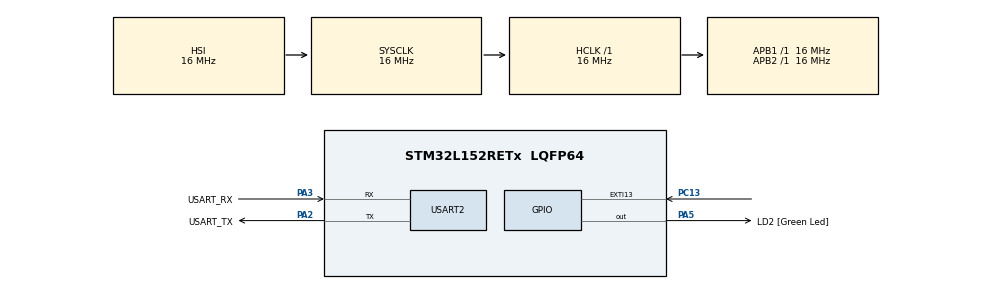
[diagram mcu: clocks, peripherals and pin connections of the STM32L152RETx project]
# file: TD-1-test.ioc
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Mcu.Family=STM32L1
Mcu.Name=STM32L152RETx
Mcu.Package=LQFP64
NVIC.EXTI15_10_IRQn=true\:0\:0\:false\:false\:true\:true\:true\:true
NVIC.PriorityGroup=NVIC_PRIORITYGROUP_0
NVIC.TIM6_IRQn=true\:0\:0\:false\:false\:true\:true\:true\:true
PA13.GPIO_Label=TMS
PA13.Mode=Serial_Wire
PA13.Signal=SYS_JTMS-SWDIO
PA14.GPIO_Label=TCK
PA14.Mode=Serial_Wire
PA14.Signal=SYS_JTCK-SWCLK
PA2.GPIO_Label=USART_TX
PA2.Mode=Asynchronous
PA2.Signal=USART2_TX
PA3.GPIO_Label=USART_RX
PA3.Mode=Asynchronous
PA3.Signal=USART2_RX
PA5.GPIO_Label=LD2 [Green Led]
PA5.Signal=GPIO_Output
PB3.GPIO_Label=SWO
PB3.Signal=SYS_JTDO-TRACESWO
PC13-WKUP2.GPIO_ModeDefaultEXTI=GPIO_MODE_IT_FALLING
PC13-WKUP2.Signal=GPXTI13
PC14-OSC32_IN.Mode=LSE-External-Oscillator
PC14-OSC32_IN.Signal=RCC_OSC32_IN
PC15-OSC32_OUT.Mode=LSE-External-Oscillator
PC15-OSC32_OUT.Signal=RCC_OSC32_OUT
PH0-OSC_IN.Mode=HSE-External-Clock-Source
PH0-OSC_IN.Signal=RCC_OSC_IN
PH1-OSC_OUT.Signal=RCC_OSC_OUT
ProjectManager.HeapSize=0x200
ProjectManager.StackSize=0x400
ProjectManager.TargetToolchain=STM32CubeIDE
RCC.48MHZClocksFreq_Value=48000000
RCC.AHBFreq_Value=16000000
RCC.APB1Freq_Value=16000000
RCC.APB1TimFreq_Value=16000000
RCC.APB2Freq_Value=16000000
RCC.APB2TimFreq_Value=16000000
RCC.HCLKFreq_Value=16000000
RCC.HSE_VALUE=8000000
RCC.HSI_VALUE=16000000
RCC.MSI_VALUE=2097000
RCC.PLLDIV=RCC_PLL_DIV3
RCC.PLLMUL=RCC_PLL_MUL6
RCC.RTCClockSelectionVirtual=RCC_RTCCLKSOURCE_LSE
RCC.SYSCLKFreq_VALUE=16000000
RCC.SYSCLKSource=RCC_SYSCLKSOURCE_HSI
RCC.USBOutput=48000000
RCC.VCOOutputFreq_Value=96000000
TIM6.Period=1000-1
TIM6.Prescaler=16000-1
USART2.VirtualMode=VM_ASYNC
VP_TIM6_VS_ClockSourceINT.Mode=Enable_Timer
board=NUCLEO-L152RE

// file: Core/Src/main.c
/* USER CODE BEGIN Header */
/**
  ******************************************************************************
  * @file           : main.c
  * @brief          : Main program body
  ******************************************************************************
  * @attention
  *
  * Copyright (c) 2025 STMicroelectronics.
  * All rights reserved.
  *
  * This software is licensed under terms that can be found in the LICENSE file
  * in the root directory of this software component.
  * If no LICENSE file comes with this software, it is provided AS-IS.
  *
  ******************************************************************************
  */
/* USER CODE END Header */
#include "main.h"

/* USER CODE BEGIN PD */

//#define POLLING

/* USER CODE END PD */

TIM_HandleTypeDef htim6;

UART_HandleTypeDef huart2;

void SystemClock_Config(void);
static void MX_GPIO_Init(void);
static void MX_USART2_UART_Init(void);
static void MX_TIM6_Init(void);

int main(void)
{

  /* MCU Configuration--------------------------------------------------------*/

  /* Reset of all peripherals, Initializes the Flash interface and the Systick. */
  HAL_Init();

  /* Configure the system clock */
  SystemClock_Config();

  /* Initialize all configured peripherals */
  MX_GPIO_Init();
  MX_USART2_UART_Init();
  MX_TIM6_Init();
  /* USER CODE BEGIN 2 */

  // Allume la led V1
  //*((uint32_t *)0x40020014) |= (1 << 5);

  uint32_t bouton_bleu = 0;
  uint32_t led = 0;
  uint8_t v = 0;
  /* USER CODE END 2 */

  /* Infinite loop */
  /* USER CODE BEGIN WHILE */

  //status_bouton = *((uint32_t*)0x40020810);
  TIM6->DIER |= 1<<0;
  TIM6->CR1 |= 1<<0;
  while (1)
  {
    /* USER CODE END WHILE */

    /* USER CODE BEGIN 3 */
	  // Code V1 clignotte version pas propre
	  /*
	  *((uint32_t *)0x40020014) |= (1 << 5);
	  HAL_Delay(1000);
	  *((uint32_t *)0x40020014) &= ~(1 << 5);
	  HAL_Delay(1000);
	  */

	  // Code V2 clignotte avec XOR
	  /*
	  *((uint32_t *)0x40020014) ^= (1 << 5);
	  HAL_Delay(1000);
	  */
#ifdef POLLING
	  // Version variable
	  bouton_bleu = *(volatile uint32_t *)0x40020810;
	  led = *(volatile uint32_t *)0x40020014;
	  v = (bouton_bleu & (1 << 13)) >> 13;
	  if(v == 0) {
		  led ^= (1 << 5);
		  *(volatile uint32_t *)0x40020014 = led;
		  HAL_Delay(500);
	  }
#endif

	  // Version registre
	  /*
	  v = (GPIOC->IDR&(1 << 13)) >> 13;
	  if(v == 0) {
		  GPIOA->ODR ^= (1 << 5);
		  HAL_Delay(500);
	  }
	  */
  }
  /* USER CODE END 3 */
}

void SystemClock_Config(void)
{
  RCC_OscInitTypeDef RCC_OscInitStruct = {0};
  RCC_ClkInitTypeDef RCC_ClkInitStruct = {0};

  /** Configure the main internal regulator output voltage
  */
  __HAL_PWR_VOLTAGESCALING_CONFIG(PWR_REGULATOR_VOLTAGE_SCALE1);

  /** Initializes the RCC Oscillators according to the specified parameters
  * in the RCC_OscInitTypeDef structure.
  */
  RCC_OscInitStruct.OscillatorType = RCC_OSCILLATORTYPE_HSI;
  RCC_OscInitStruct.HSIState = RCC_HSI_ON;
  RCC_OscInitStruct.HSICalibrationValue = RCC_HSICALIBRATION_DEFAULT;
  RCC_OscInitStruct.PLL.PLLState = RCC_PLL_NONE;
  if (HAL_RCC_OscConfig(&RCC_OscInitStruct) != HAL_OK)
  {
    Error_Handler();
  }

  /** Initializes the CPU, AHB and APB buses clocks
  */
  RCC_ClkInitStruct.ClockType = RCC_CLOCKTYPE_HCLK|RCC_CLOCKTYPE_SYSCLK
                              |RCC_CLOCKTYPE_PCLK1|RCC_CLOCKTYPE_PCLK2;
  RCC_ClkInitStruct.SYSCLKSource = RCC_SYSCLKSOURCE_HSI;
  RCC_ClkInitStruct.AHBCLKDivider = RCC_SYSCLK_DIV1;
  RCC_ClkInitStruct.APB1CLKDivider = RCC_HCLK_DIV1;
  RCC_ClkInitStruct.APB2CLKDivider = RCC_HCLK_DIV1;

  if (HAL_RCC_ClockConfig(&RCC_ClkInitStruct, FLASH_LATENCY_0) != HAL_OK)
  {
    Error_Handler();
  }
}

static void MX_TIM6_Init(void)
{

  TIM_MasterConfigTypeDef sMasterConfig = {0};

  htim6.Instance = TIM6;
  htim6.Init.Prescaler = 16000-1;
  htim6.Init.CounterMode = TIM_COUNTERMODE_UP;
  htim6.Init.Period = 1000-1;
  htim6.Init.AutoReloadPreload = TIM_AUTORELOAD_PRELOAD_DISABLE;
  if (HAL_TIM_Base_Init(&htim6) != HAL_OK)
  {
    Error_Handler();
  }
  sMasterConfig.MasterOutputTrigger = TIM_TRGO_RESET;
  sMasterConfig.MasterSlaveMode = TIM_MASTERSLAVEMODE_DISABLE;
  if (HAL_TIMEx_MasterConfigSynchronization(&htim6, &sMasterConfig) != HAL_OK)
  {
    Error_Handler();
  }

}

static void MX_USART2_UART_Init(void)
{

  huart2.Instance = USART2;
  huart2.Init.BaudRate = 115200;
  huart2.Init.WordLength = UART_WORDLENGTH_8B;
  huart2.Init.StopBits = UART_STOPBITS_1;
  huart2.Init.Parity = UART_PARITY_NONE;
  huart2.Init.Mode = UART_MODE_TX_RX;
  huart2.Init.HwFlowCtl = UART_HWCONTROL_NONE;
  huart2.Init.OverSampling = UART_OVERSAMPLING_16;
  if (HAL_UART_Init(&huart2) != HAL_OK)
  {
    Error_Handler();
  }

}

static void MX_GPIO_Init(void)
{
  GPIO_InitTypeDef GPIO_InitStruct = {0};

  /* GPIO Ports Clock Enable */
  __HAL_RCC_GPIOC_CLK_ENABLE();
  __HAL_RCC_GPIOH_CLK_ENABLE();
  __HAL_RCC_GPIOA_CLK_ENABLE();
  __HAL_RCC_GPIOB_CLK_ENABLE();

  /*Configure GPIO pin Output Level */
  HAL_GPIO_WritePin(LD2_GPIO_Port, LD2_Pin, GPIO_PIN_RESET);

  /*Configure GPIO pin : PC13 */
  GPIO_InitStruct.Pin = GPIO_PIN_13;
  GPIO_InitStruct.Mode = GPIO_MODE_IT_FALLING;
  GPIO_InitStruct.Pull = GPIO_NOPULL;
  HAL_GPIO_Init(GPIOC, &GPIO_InitStruct);

  /*Configure GPIO pin : LD2_Pin */
  GPIO_InitStruct.Pin = LD2_Pin;
  GPIO_InitStruct.Mode = GPIO_MODE_OUTPUT_PP;
  GPIO_InitStruct.Pull = GPIO_NOPULL;
  GPIO_InitStruct.Speed = GPIO_SPEED_FREQ_LOW;
  HAL_GPIO_Init(LD2_GPIO_Port, &GPIO_InitStruct);

  /* EXTI interrupt init*/
  HAL_NVIC_SetPriority(EXTI15_10_IRQn, 0, 0);
  HAL_NVIC_EnableIRQ(EXTI15_10_IRQn);

}

/* USER CODE BEGIN 4 */
void HAL_GPIO_EXTI_Callback(uint16_t GPIO_Pin) {
	  //*(volatile uint32_t *)0x40020014 ^= (1 << 5);
	  GPIOA->ODR ^= (1 << 5);
}

/* USER CODE END 4 */

void Error_Handler(void)
{
  __disable_irq();
  while (1)
  {
  }
}
